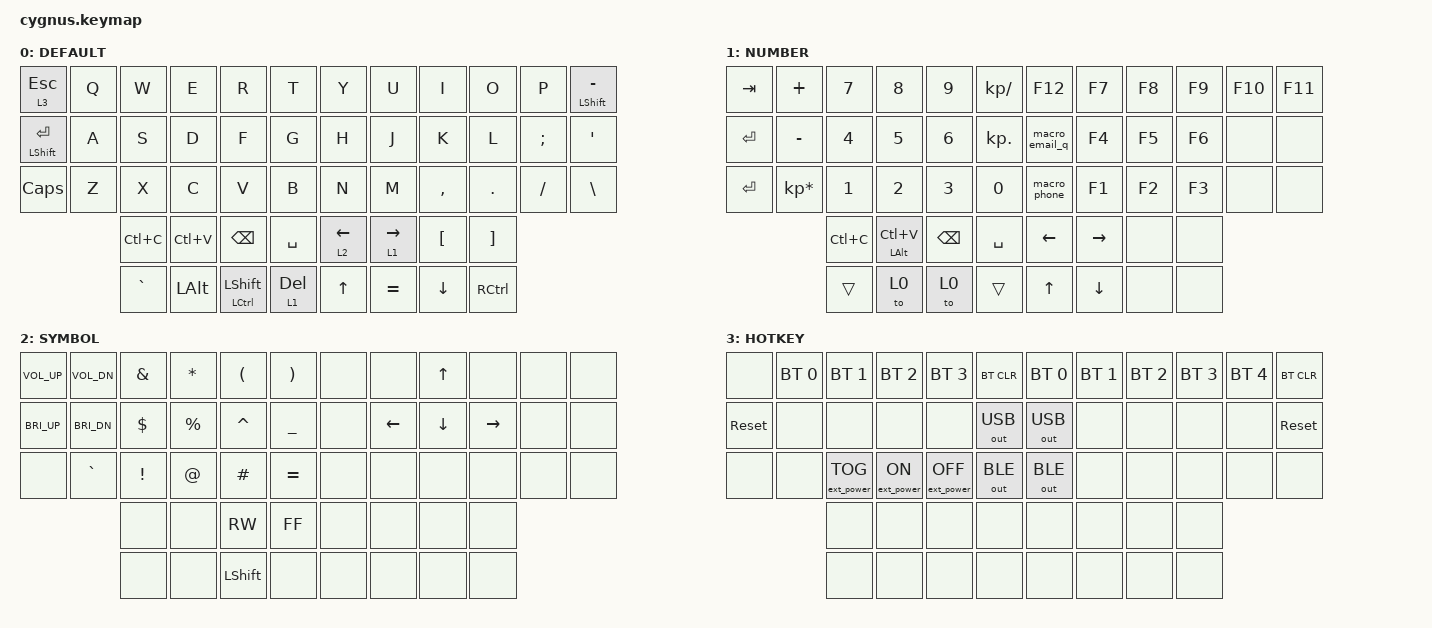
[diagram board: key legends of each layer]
/*
 * Copyright (c) 2020 The ZMK Contributors
 *
 * SPDX-License-Identifier: MIT
 */

#include <behaviors.dtsi>
#include <dt-bindings/zmk/keys.h>
#include <dt-bindings/zmk/bt.h>


&mt {
    tapping-term-ms = <200>;
    flavor = "tap-preferred";
 };
&sk {
     release-after-ms = <2000>;
     quick-release;
 };


/ { 
    combos {
        compatible = "zmk,combos";
		combo_esc { 
            timeout-ms = <50>;
            key-positions = <1 2>;
            bindings = <&kp ESC>;
        };
		combo_tab { 
            timeout-ms = <50>;
            key-positions = <11 12>;
            bindings = <&kp TAB>;
        };
    };

behaviors {
	hm: homerow_mods {
		compatible = "zmk,behavior-hold-tap";
		label = "HOMEROW_MODS";
		#binding-cells = <2>;
		tapping-term-ms = <240>;
		quick_tap_ms = <0>;
		flavor = "tap-preferred";
		bindings = <&kp>, <&kp>;
	};
	hs: homerow_shifts {
		compatible = "zmk,behavior-hold-tap";
		label = "HOMEROW_SHIFTS";
		#binding-cells = <2>;
		tapping-term-ms = <150>;
		quick_tap_ms = <0>;
		flavor = "balanced";
		bindings = <&kp>, <&kp>;
	};
	td: tapdance {
		compatible = "zmk,behavior-hold-tap";
		label = "TAPDANCE";
		#binding-cells = <2>;
		tapping-term-ms = <190>;
		quick_tap_ms = <0>;
		flavor = "tap-preferred";
		bindings = <&kp>, <&kp>;
	};
};

keymap {
	compatible = "zmk,keymap";
	
 default_layer {
            label = "DEFAULT";
            bindings = <
&lt 3 ESC             &kp Q  &kp W      &kp E      &kp R            &kp T      &kp Y       &kp U        &kp I      &kp O      &kp P     &mt LEFT_SHIFT MINUS
&mt LEFT_SHIFT ENTER  &kp A  &kp S      &kp D      &kp F            &kp G      &kp H       &kp J        &kp K      &kp L      &kp SEMI  &kp SQT
&kp CAPS              &kp Z  &kp X      &kp C      &kp V            &kp B      &kp N       &kp M        &kp COMMA  &kp DOT    &kp FSLH  &kp BSLH
                             &kp LC(C)  &kp LC(V)  &kp BSPC         &kp SPACE  &lt 2 LEFT  &lt 1 RIGHT  &kp LBKT   &kp RBKT
                             &kp GRAVE  &kp LALT   &mt LCTRL LSHFT  &lt 1 DEL  &kp UP      &kp EQUAL    &kp DOWN   &kp RCTRL
            >;
        };

        number_layer {
            label = "NUMBER";
            bindings = <
&kp TAB    &kp PLUS         &kp N7     &kp N8          &kp N9    &kp KP_SLASH  &kp F12         &kp F7     &kp F8  &kp F9  &kp F10  &kp F11
&kp ENTER  &kp MINUS        &kp N4     &kp N5          &kp N6    &kp KP_DOT    &macro_email_q  &kp F4     &kp F5  &kp F6  &none    &none
&kp ENTER  &kp KP_MULTIPLY  &kp N1     &kp N2          &kp N3    &kp N0        &macro_phone    &kp F1     &kp F2  &kp F3  &none    &none
                            &kp LC(C)  &mt LALT LC(V)  &kp BSPC  &kp SPACE     &kp LEFT        &kp RIGHT  &none   &none
                            &trans     &to 0           &to 0     &trans        &kp UP          &kp DOWN   &none   &none
            >;
        };

        symbol_layer {
            label = "SYMBOL";
            bindings = <
&kp C_VOL_UP  &kp C_VOL_DN  &kp AMPS  &kp STAR   &kp LPAR   &kp RPAR   &none  &none     &kp UP    &none      &none  &none
&kp C_BRI_UP  &kp C_BRI_DN  &kp DLLR  &kp PRCNT  &kp CARET  &kp UNDER  &none  &kp LEFT  &kp DOWN  &kp RIGHT  &none  &none
&none         &kp GRAVE     &kp EXCL  &kp AT     &kp HASH   &kp EQUAL  &none  &none     &none     &none      &none  &none
                            &none     &none      &kp C_RW   &kp C_FF   &none  &none     &none     &none
                            &none     &none      &kp LSHFT  &none      &none  &none     &none     &none
            >;
        };

        hotkey_layer {
            label = "HOTKEY";
            bindings = <
&none       &bt BT_SEL 0  &bt BT_SEL 1       &bt BT_SEL 2      &bt BT_SEL 3       &bt BT_CLR    &bt BT_SEL 0  &bt BT_SEL 1  &bt BT_SEL 2  &bt BT_SEL 3  &bt BT_SEL 4  &bt BT_CLR
&sys_reset  &none         &none              &none             &none              &out OUT_USB  &out OUT_USB  &none         &none         &none         &none         &sys_reset
&none       &none         &ext_power EP_TOG  &ext_power EP_ON  &ext_power EP_OFF  &out OUT_BLE  &out OUT_BLE  &none         &none         &none         &none         &none
                          &none              &none             &none              &none         &none         &none         &none         &none
                          &none              &none             &none              &none         &none         &none         &none         &none
		>;
	};
};
};
